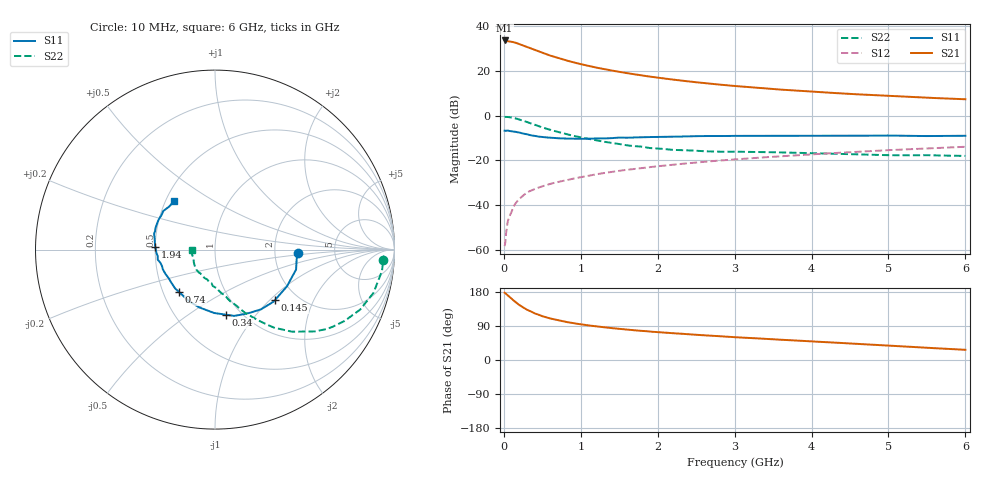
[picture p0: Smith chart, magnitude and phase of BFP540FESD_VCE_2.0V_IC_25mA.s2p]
! Infineon Technologies  Discrete & RF Semiconductors
! BFP540FESD
! VCE =  2.0 V,  IC =  25 mA
! Common Emitter S-Parameters:  Nov 2015
# GHz  S  MA  R  50
!  f  S11  S21  S12  S22
! GHz  MAG  ANG  MAG  ANG  MAG  ANG  MAG  ANG
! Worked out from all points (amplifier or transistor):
!   210 points, 10 MHz to 6 GHz, reference 50 ohm
!   highest |S21| = 33.7 dB at 10 MHz (marker M1)
!   |S21| within 3 dB of that: start of sweep to 309.6 MHz
!   unconditionally stable (mu >= 1): 1.59 GHz to end of sweep
!   at 185 MHz: K = 0.33, MSG = 35.1 dB, |S12| = -37.9 dB
!   at 1.52 GHz: K = 0.98, MSG = 22.0 dB, |S12| = -24.6 dB
!   at 6 GHz: K = 1.17, MAG = 8.2 dB, |S12| = -13.9 dB
!   S11 on the Smith chart (normalised r, x): 10 MHz: 2.71, -0.12; 145 MHz: 1.55, -1.08; 340 MHz: 0.85, -0.72; 740 MHz: 0.60, -0.32; 1.94 GHz: 0.50, +0.02; 6 GHz: 0.55, +0.34
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0.01  0.4619 -2.1  48.29 177.5  0.0012 103.9  0.9351 -3.5
0.02  0.4581 -7.1  46.72 176.1  0.0015 84.5  0.9401 -2.3
0.05  0.4652 -13.8  46.74 170.7  0.0042 86.8  0.9381 -7.3
0.1  0.4499 -27.2  45.15 161.5  0.007 82.1  0.9152 -15.3
0.145  0.4366 -40.1  43.32 154.0  0.0104 77.6  0.8783 -21.8
0.2  0.4201 -52.4  40.27 145.3  0.0136 73.6  0.8236 -28.9
0.24  0.4023 -61.0  37.97 140.2  0.0157 72.2  0.7828 -33.4
0.3  0.3844 -73.9  34.7 132.7  0.019 68.8  0.7208 -39.2
0.34  0.3681 -80.3  32.58 129.2  0.0206 67.7  0.6815 -42.0
0.4  0.3532 -90.8  29.67 123.1  0.0229 66.4  0.6262 -46.9
0.5  0.3337 -105.2  25.59 115.6  0.0262 65.4  0.5451 -52.9
0.6  0.3221 -116.6  22.22 109.7  0.0296 64.4  0.4822 -57.1
0.74  0.31 -130.0  18.76 103.4  0.0339 63.7  0.4161 -62.2
0.9  0.3057 -142.4  15.69 97.2  0.0389 63.4  0.3559 -67.2
1.02  0.3038 -149.3  13.98 93.6  0.0428 63.5  0.3225 -70.4
1.46  0.3197 -168.7  9.843 83.0  0.0572 62.4  0.2379 -83.1
1.94  0.3334 177.6  7.326 74.4  0.0721 60.7  0.1869 -97.4
2.02  0.3355 175.2  7.02 73.2  0.0745 60.4  0.1835 -100.3
3.1  0.3531 158.9  4.482 59.2  0.1081 55.0  0.1553 -126.6
4.1  0.3554 150.6  3.372 48.0  0.1398 48.9  0.1434 -142.6
5.1  0.3571 141.9  2.726 36.8  0.1722 41.2  0.1301 -158.5
6  0.355 130.6  2.331 26.9  0.2013 33.8  0.1257 -178.6
